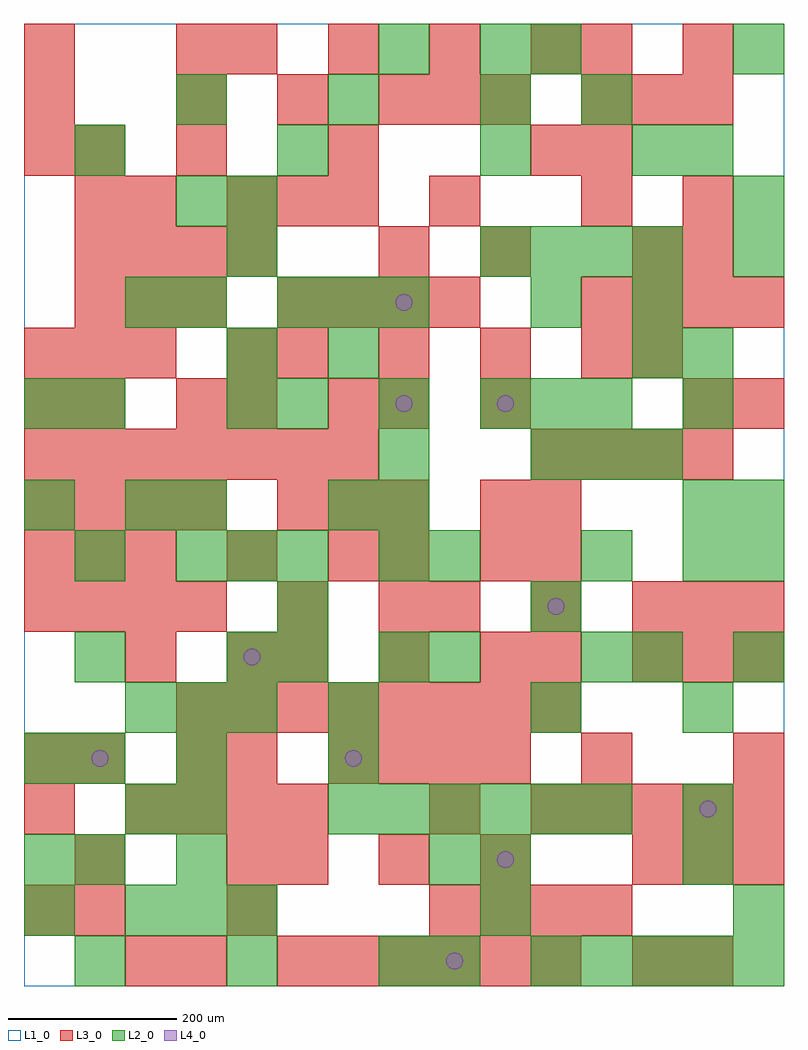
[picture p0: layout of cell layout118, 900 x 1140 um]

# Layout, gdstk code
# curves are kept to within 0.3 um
import gdstk
lib = gdstk.Library(unit=1e-6, precision=1e-09)
def R(c, l, rs):  # rectangles x0, y0, x1, y1
    for r in rs: c.add(gdstk.rectangle(r[:2], r[2:], *l))
def A(c, l, x, y, w, h, nx, ny, dx, dy):  # array of equal rectangles
    R(c, l, [(x+i*dx, y+j*dy, x+i*dx+w, y+j*dy+h) for i in range(nx) for j in range(ny)])
def P(c, l, *ps):  # polygons
    for p in ps: c.add(gdstk.Polygon(p, *l))
L1_0 = (1, 0)
L2_0 = (2, 0)
L3_0 = (3, 0)
L4_0 = (4, 0)

layout118 = lib.new_cell('layout118')
R(layout118, L1_0, [(0,0,900,1140)])
A(layout118, L2_0, 60, 0, 60, 60, 3, 1, 180, 0)
A(layout118, L2_0, 600, 0, 60, 60, 5, 1, 60, 0)
A(layout118, L2_0, 120, 60, 60, 60, 3, 2, 60, 240)
A(layout118, L2_0, 60, 120, 60, 60, 1, 4, 0, 120)
A(layout118, L2_0, 180, 120, 60, 60, 1, 3, 0, 60)
A(layout118, L2_0, 360, 180, 60, 60, 6, 1, 60, 0)
A(layout118, L2_0, 180, 480, 60, 60, 3, 1, 60, 0)
A(layout118, L2_0, 420, 480, 60, 60, 1, 3, 0, 60)
A(layout118, L2_0, 600, 600, 60, 60, 3, 1, 60, 0)
A(layout118, L2_0, 300, 660, 60, 60, 3, 1, 120, 0)
A(layout118, L2_0, 300, 780, 60, 60, 3, 1, 60, 0)
A(layout118, L2_0, 540, 840, 60, 60, 4, 1, 60, 0)
A(layout118, L2_0, 60, 960, 60, 60, 3, 1, 240, 0)
A(layout118, L2_0, 180, 1020, 60, 60, 3, 1, 180, 0)
R(layout118, L2_0, [(480,0,540,60), (0,60,60,120), (540,60,600,120), (840,60,900,120), (0,120,60,180), (480,120,540,180), (540,120,600,180), (780,120,840,180), (120,180,180,240), (780,180,840,240), (0,240,60,300), (360,240,420,300), (360,300,420,360), (600,300,660,360), (780,300,840,360), (240,360,300,420), (300,360,360,420), (420,360,480,420), (480,360,540,420), (660,360,720,420), (720,360,780,420), (840,360,900,420), (300,420,360,480), (600,420,660,480), (480,480,540,540), (660,480,720,540), (780,480,840,540), (840,480,900,540), (0,540,60,600), (120,540,180,600), (180,540,240,600), (360,540,420,600), (780,540,840,600), (840,540,900,600), (0,660,60,720), (60,660,120,720), (240,660,300,720), (600,660,660,720), (660,660,720,720), (780,660,840,720), (240,720,300,780), (360,720,420,780), (720,720,780,780), (780,720,840,780), (120,780,180,840), (180,780,240,840), (600,780,660,840), (720,780,780,840), (240,840,300,900), (840,840,900,900), (180,900,240,960), (240,900,300,960), (840,900,900,960), (720,960,780,1020), (780,960,840,1020), (660,1020,720,1080), (420,1080,480,1140), (540,1080,600,1140), (600,1080,660,1140), (840,1080,900,1140)])
A(layout118, L3_0, 300, 0, 60, 60, 6, 1, 60, 0)
A(layout118, L3_0, 480, 60, 60, 60, 4, 1, 60, 0)
A(layout118, L3_0, 240, 120, 60, 60, 1, 4, 0, 120)
A(layout118, L3_0, 300, 120, 60, 60, 3, 2, 120, 240)
A(layout118, L3_0, 720, 120, 60, 60, 3, 2, 60, 240)
A(layout118, L3_0, 120, 180, 60, 60, 4, 1, 60, 0)
A(layout118, L3_0, 600, 180, 60, 60, 5, 1, 60, 0)
A(layout118, L3_0, 360, 240, 60, 60, 4, 1, 60, 0)
A(layout118, L3_0, 180, 300, 60, 60, 8, 1, 60, 0)
A(layout118, L3_0, 0, 420, 60, 60, 4, 2, 60, 120)
A(layout118, L3_0, 480, 420, 60, 60, 3, 1, 120, 0)
A(layout118, L3_0, 0, 480, 60, 60, 3, 2, 60, 240)
A(layout118, L3_0, 420, 480, 60, 60, 1, 3, 0, 180)
A(layout118, L3_0, 300, 540, 60, 60, 3, 1, 60, 0)
A(layout118, L3_0, 0, 600, 60, 60, 7, 1, 60, 0)
A(layout118, L3_0, 600, 600, 60, 60, 4, 1, 60, 0)
A(layout118, L3_0, 540, 660, 60, 60, 1, 3, 0, 180)
A(layout118, L3_0, 300, 720, 60, 60, 4, 1, 120, 0)
A(layout118, L3_0, 60, 780, 60, 60, 3, 1, 60, 0)
A(layout118, L3_0, 300, 780, 60, 60, 4, 1, 60, 0)
A(layout118, L3_0, 660, 780, 60, 60, 4, 1, 60, 0)
A(layout118, L3_0, 60, 840, 60, 60, 4, 1, 60, 0)
A(layout118, L3_0, 240, 900, 60, 60, 3, 1, 60, 0)
A(layout118, L3_0, 0, 960, 60, 60, 1, 3, 0, 60)
A(layout118, L3_0, 180, 1020, 60, 60, 3, 1, 120, 0)
A(layout118, L3_0, 660, 1020, 60, 60, 3, 1, 60, 0)
A(layout118, L3_0, 240, 1080, 60, 60, 4, 1, 120, 0)
R(layout118, L3_0, [(120,0,180,60), (180,0,240,60), (720,0,780,60), (780,0,840,60), (0,60,60,120), (60,60,120,120), (240,60,300,120), (60,120,120,180), (0,180,60,240), (480,180,540,240), (0,240,60,300), (60,240,120,300), (180,240,240,300), (660,240,720,300), (840,240,900,300), (120,360,180,420), (600,360,660,420), (300,420,360,480), (420,420,480,480), (780,420,840,480), (840,420,900,480), (360,480,420,540), (540,480,600,540), (600,480,660,540), (540,540,600,600), (600,540,660,600), (0,660,60,720), (60,660,120,720), (180,660,240,720), (240,660,300,720), (360,660,420,720), (780,660,840,720), (840,660,900,720), (240,720,300,780), (720,720,780,780), (720,840,780,900), (780,840,840,900), (60,900,120,960), (120,900,180,960), (480,900,540,960), (660,900,720,960), (780,900,840,960), (60,960,120,1020), (180,960,240,1020), (360,960,420,1020), (600,960,660,1020), (660,960,720,1020), (480,1020,540,1080), (180,1080,240,1140), (660,1080,720,1140), (780,1080,840,1140)])
P(layout118, L4_0, [(100,270),(99.239,273.827),(97.071,277.071),(93.827,279.239),(90,280),(86.173,279.239),(82.929,277.071),(80.761,273.827),(80,270),(80.761,266.173),(82.929,262.929),(86.173,260.761),(90,260),(93.827,260.761),(97.071,262.929),(99.239,266.173)],
  [(280,390),(279.239,393.827),(277.071,397.071),(273.827,399.239),(270,400),(266.173,399.239),(262.929,397.071),(260.761,393.827),(260,390),(260.761,386.173),(262.929,382.929),(266.173,380.761),(270,380),(273.827,380.761),(277.071,382.929),(279.239,386.173)],
  [(400,270),(399.239,273.827),(397.071,277.071),(393.827,279.239),(390,280),(386.173,279.239),(382.929,277.071),(380.761,273.827),(380,270),(380.761,266.173),(382.929,262.929),(386.173,260.761),(390,260),(393.827,260.761),(397.071,262.929),(399.239,266.173)],
  [(460,690),(459.239,693.827),(457.071,697.071),(453.827,699.239),(450,700),(446.173,699.239),(442.929,697.071),(440.761,693.827),(440,690),(440.761,686.173),(442.929,682.929),(446.173,680.761),(450,680),(453.827,680.761),(457.071,682.929),(459.239,686.173)],
  [(460,810),(459.239,813.827),(457.071,817.071),(453.827,819.239),(450,820),(446.173,819.239),(442.929,817.071),(440.761,813.827),(440,810),(440.761,806.173),(442.929,802.929),(446.173,800.761),(450,800),(453.827,800.761),(457.071,802.929),(459.239,806.173)],
  [(520,30),(519.239,33.827),(517.071,37.071),(513.827,39.239),(510,40),(506.173,39.239),(502.929,37.071),(500.761,33.827),(500,30),(500.761,26.173),(502.929,22.929),(506.173,20.761),(510,20),(513.827,20.761),(517.071,22.929),(519.239,26.173)],
  [(580,150),(579.239,153.827),(577.071,157.071),(573.827,159.239),(570,160),(566.173,159.239),(562.929,157.071),(560.761,153.827),(560,150),(560.761,146.173),(562.929,142.929),(566.173,140.761),(570,140),(573.827,140.761),(577.071,142.929),(579.239,146.173)],
  [(580,690),(579.239,693.827),(577.071,697.071),(573.827,699.239),(570,700),(566.173,699.239),(562.929,697.071),(560.761,693.827),(560,690),(560.761,686.173),(562.929,682.929),(566.173,680.761),(570,680),(573.827,680.761),(577.071,682.929),(579.239,686.173)],
  [(640,450),(639.239,453.827),(637.071,457.071),(633.827,459.239),(630,460),(626.173,459.239),(622.929,457.071),(620.761,453.827),(620,450),(620.761,446.173),(622.929,442.929),(626.173,440.761),(630,440),(633.827,440.761),(637.071,442.929),(639.239,446.173)],
  [(820,210),(819.239,213.827),(817.071,217.071),(813.827,219.239),(810,220),(806.173,219.239),(802.929,217.071),(800.761,213.827),(800,210),(800.761,206.173),(802.929,202.929),(806.173,200.761),(810,200),(813.827,200.761),(817.071,202.929),(819.239,206.173)])

lib.write_gds('layout118.gds')
